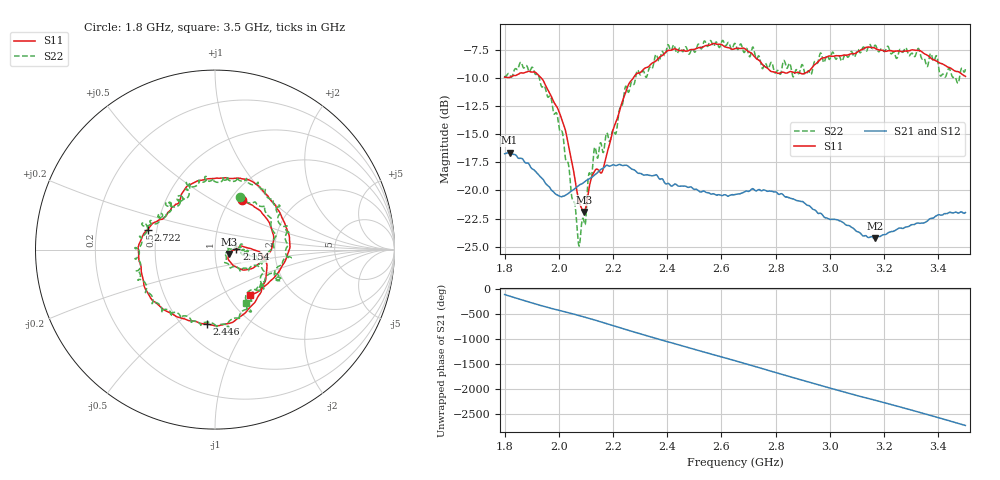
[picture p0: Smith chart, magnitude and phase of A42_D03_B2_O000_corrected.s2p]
! Created with skrf 1.9.0 (http://scikit-rf.org).
# Hz S RI R 50.0
!freq ReS11 ImS11 ReS21 ImS21 ReS12 ImS12 ReS22 ImS22
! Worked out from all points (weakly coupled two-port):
!   1601 points, 1.8 GHz to 3.5 GHz, reference 50 ohm
!   highest |S21| = -16.66 dB at 1.818 GHz (marker M1); lowest = -24.3 dB at 3.165 GHz (marker M2)
!   lowest |S11| = -21.9 dB at 2.092 GHz (marker M3), VSWR 1.17, Z = 58.2 - j2.91 ohm
!   |S11| at or under -10 dB: 1.935 GHz to 2.275 GHz (340.7 MHz wide, 16.2 % of centre)
!   |S22| runs from -25.0 to -6.7 dB; largest |S21 - S12| = 0.0025
!   S11 on the Smith chart (normalised r, x): 1.8 GHz: 1.13, +0.70; 2.154 GHz: 1.27, +0.01; 2.446 GHz: 0.65, -0.65; 2.722 GHz: 0.45, +0.12; 3.5 GHz: 1.26, -0.71
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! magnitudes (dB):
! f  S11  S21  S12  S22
! 1.8 GHz  -10.0  -16.8  -16.8  -9.8
! 1.818 GHz  -10.0  -16.7  -16.7  -9.7
! 1.903 GHz  -9.5  -18.1  -18.1  -9.1
! 1.968 GHz  -11.4  -19.8  -19.8  -11.6
! 2.014 GHz  -13.9  -20.5  -20.5  -14.9
! 2.072 GHz  -20.7  -19.6  -19.6  -24.7
! 2.084 GHz  -21.6  -19.4  -19.4  -23.0
! 2.092 GHz  -21.9  -19.3  -19.4  -22.7
! 2.13 GHz  -18.4  -18.7  -18.7  -16.4
! 2.154 GHz  -18.4  -18.2  -18.2  -15.8
! 2.209 GHz  -14.0  -17.8  -17.7  -15.0
! 2.259 GHz  -10.5  -17.9  -17.9  -11.2
! 2.367 GHz  -8.3  -18.9  -18.8  -8.5
! 2.446 GHz  -7.6  -19.6  -19.6  -7.3
! 2.65 GHz  -7.4  -20.4  -20.3  -7.0
! 2.722 GHz  -8.2  -20.0  -19.9  -7.8
! 2.803 GHz  -9.5  -20.2  -20.2  -9.5
! 2.934 GHz  -9.1  -21.6  -21.6  -9.6
! 3.165 GHz  -7.4  -24.3  -24.2  -7.1
! 3.217 GHz  -7.6  -23.7  -23.7  -7.3
! 3.469 GHz  -9.4  -22.0  -22.0  -10.4
! 3.5 GHz  -9.9  -22.0  -22.0  -9.2
